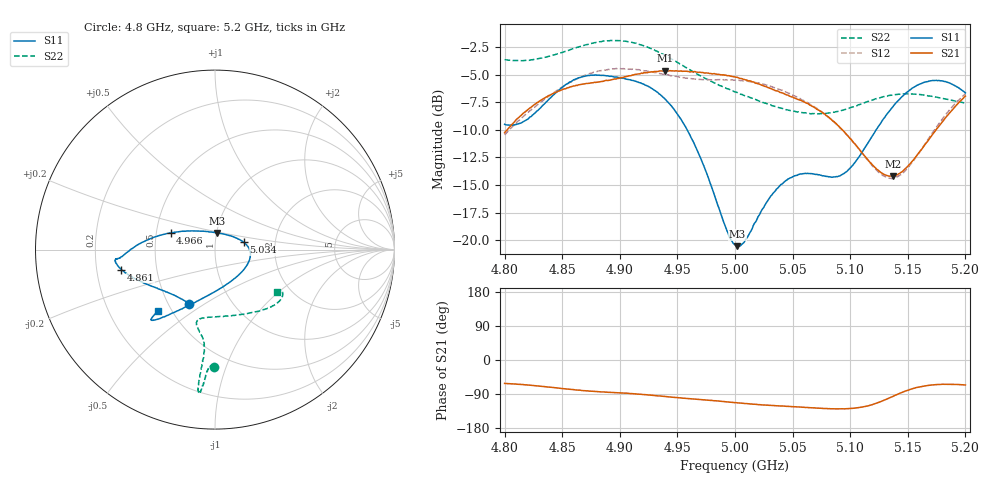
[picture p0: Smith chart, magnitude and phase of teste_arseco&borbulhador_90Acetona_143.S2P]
! Network Analyzer HP8722D
! Hewlett-Packard
! Data name: Linha & Wilkinson
! Saver's name: Rodrigo Anjos
! Comments: Teste da utilização de aquisição
! continua pelo VNA HP8722D
! Time and date: 17/4/2025 12:14
!  Frequency  S11  S21  S12  S22
# HZ  S  MA R 50
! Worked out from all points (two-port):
!   401 points, 4.8 GHz to 5.2 GHz, reference 50 ohm
!   highest |S21| = -4.65 dB at 4.939 GHz (marker M1); lowest = -14.2 dB at 5.137 GHz (marker M2)
!   |S21| within 3 dB of the highest: 4.827 GHz to 5.063 GHz (236.4 MHz wide, 4.78 % of centre); 5.193374 GHz to end of sweep
!   lowest |S11| = -20.5 dB at 5.002 GHz (marker M3), VSWR 1.21, Z = 50.3 + j9.46 ohm
!   |S11| at or under -10 dB: 4.958 GHz to 5.123 GHz (164.1 MHz wide, 3.26 % of centre)
!   |S22| runs from -8.6 to -1.9 dB; largest |S21 - S12| = 0.88
!   S11 on the Smith chart (normalised r, x): 4.8 GHz: 0.63, -0.43; 4.861 GHz: 0.31, -0.10; 4.966 GHz: 0.60, +0.12; 5.034 GHz: 1.38, +0.12; 5.2 GHz: 0.42, -0.37
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4.8e9  0.3347 -115.9  0.3064 -61.8  0.2997 -176.2  0.6568 -90.7
4.819e9  0.3509 -136.2  0.3855 -65.7  0.3739 -175.4  0.6526 -92.3
4.861e9  0.5349 -168.0  0.4994 -78.8  0.5316 -178.6  0.7403 -94.9
4.867e9  0.5488 -170.4  0.5081 -80.6  0.55 -179.7  0.7572 -95.1
4.899e9  0.5447 -174.8  0.5399 -86.6  0.5959 173.9  0.8005 -96.5
4.934e9  0.4602 179.2  0.5825 -94.9  0.5699 170.5  0.7079 -96.9
4.939e9  0.4373 177.0  0.5857 -96.2  0.5652 170.5  0.6881 -96.7
4.966e9  0.2638 159.4  0.5781 -103.3  0.5359 172.7  0.5713 -95.9
4.993e9  0.1106 114.3  0.556 -110.6  0.5305 174.9  0.4857 -98.8
5e9  0.09539 90.3  0.5481 -112.5  0.5312 174.9  0.4692 -100.1
5.002e9  0.094 82.9  0.5461 -113.0  0.5302 174.9  0.4662 -100.6
5.009e9  0.1003 59.1  0.5322 -115.0  0.5279 174.7  0.45 -102.1
5.034e9  0.1652 14.3  0.479 -120.3  0.4911 173.5  0.4047 -103.7
5.05e9  0.1936 -1.2  0.4456 -123.2  0.4546 172.9  0.386 -99.2
5.067e9  0.2001 -19.5  0.4041 -126.1  0.4075 172.6  0.3746 -89.9
5.096e9  0.2032 -70.3  0.3046 -128.6  0.3045 174.4  0.3915 -67.0
5.121e9  0.3064 -109.6  0.2148 -116.0  0.2124 -170.9  0.4346 -49.8
5.134e9  0.3844 -119.9  0.1951 -100.1  0.1908 -153.2  0.4524 -43.3
5.137e9  0.4017 -121.7  0.1948 -96.3  0.1911 -148.4  0.4557 -42.1
5.149e9  0.4667 -126.9  0.2137 -80.8  0.2103 -130.8  0.4598 -37.6
5.17e9  0.5269 -131.6  0.2937 -66.2  0.2986 -112.4  0.4491 -32.9
5.2e9  0.4643 -132.9  0.4492 -66.0  0.4611 -108.1  0.4172 -34.5
